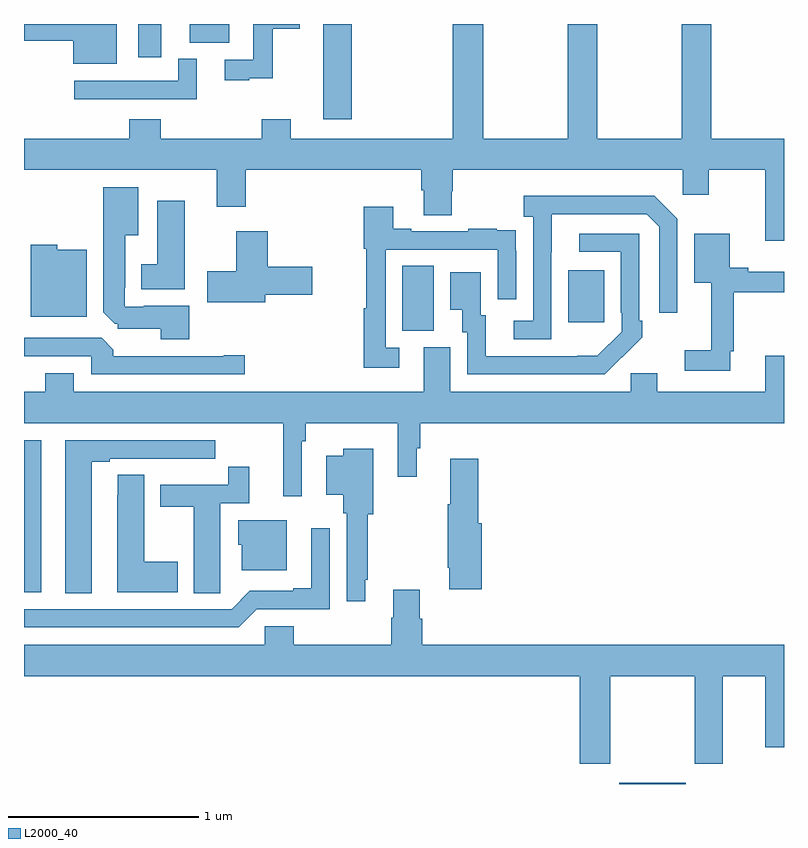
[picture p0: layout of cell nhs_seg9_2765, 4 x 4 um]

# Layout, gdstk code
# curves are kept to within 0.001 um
import gdstk
lib = gdstk.Library(unit=1e-6, precision=1e-09)
def R(c, l, rs):  # rectangles x0, y0, x1, y1
    for r in rs: c.add(gdstk.rectangle(r[:2], r[2:], *l))
def P(c, l, *ps):  # polygons
    for p in ps: c.add(gdstk.Polygon(p, *l))
L2000_40 = (2000, 40)

nhs_seg9_2765 = lib.new_cell('nhs_seg9_2765')
R(nhs_seg9_2765, L2000_40, [(272.132,1214.5,272.482,1214.506), (269,1215.51,269.092,1216.308), (270.992,1216.885,271.156,1217.228), (271.865,1216.929,272.053,1217.203), (270.575,1218,270.725,1218.5), (269.6,1218.324,269.722,1218.5), (269.873,1218.401,270.079,1218.5)])
P(nhs_seg9_2765, L2000_40, [(269.555,1217.998),(269.555,1217.896),(269,1217.896),(269,1217.732),(270.014,1217.732),(270.014,1217.538),(270.167,1217.538),(270.167,1217.732),(271.091,1217.732),(271.091,1217.626),(271.103,1217.626),(271.103,1217.494),(271.251,1217.494),(271.251,1217.619),(271.256,1217.619),(271.256,1217.732),(272.466,1217.732),(272.466,1217.601),(272.605,1217.601),(272.605,1217.732),(272.9,1217.732),(272.9,1217.358),(273,1217.358),(273,1217.896),(272.616,1217.896),(272.616,1218.5),(272.461,1218.5),(272.461,1217.896),(272.016,1217.896),(272.016,1218.5),(271.861,1218.5),(271.861,1217.896),(271.416,1217.896),(271.416,1218.5),(271.256,1218.5),(271.256,1217.896),(270.403,1217.896),(270.403,1217.998),(270.251,1217.998),(270.251,1217.896),(269.72,1217.896),(269.72,1217.998)],
  [(269.488,1218.5),(269,1218.5),(269,1218.412),(269.258,1218.412),(269.258,1218.29),(269.488,1218.29)],
  [(270.185,1218.215),(270.308,1218.215),(270.308,1218.475),(270.451,1218.475),(270.451,1218.5),(270.207,1218.5),(270.207,1218.312),(270.057,1218.312),(270.057,1218.204),(270.185,1218.204)],
  [(269.908,1218.316),(269.811,1218.316),(269.811,1218.201),(269.265,1218.201),(269.265,1218.105),(269.908,1218.105)],
  [(269.869,1217.017),(269.629,1217.017),(269.629,1217.013),(269.529,1217.013),(269.529,1217.113),(269.533,1217.113),(269.533,1217.387),(269.602,1217.387),(269.602,1217.641),(269.417,1217.641),(269.417,1216.983),(269.477,1216.923),(269.493,1216.923),(269.493,1216.896),(269.72,1216.896),(269.72,1216.841),(269.869,1216.841)],
  [(271.776,1217.299),(271.777,1217.499),(272.277,1217.499),(272.343,1217.433),(272.343,1216.98),(272.439,1216.98),(272.439,1217.475),(272.318,1217.596),(271.629,1217.596),(271.629,1217.486),(271.68,1217.486),(271.68,1216.938),(271.578,1216.938),(271.578,1216.842),(271.776,1216.842)],
  [(269.845,1217.569),(269.702,1217.569),(269.702,1217.236),(269.618,1217.236),(269.618,1217.105),(269.845,1217.105)],
  [(270.976,1216.797),(270.903,1216.797),(270.903,1217.313),(271.494,1217.313),(271.494,1217.052),(271.59,1217.052),(271.59,1217.306),(271.589,1217.306),(271.589,1217.415),(271.487,1217.415),(271.487,1217.422),(271.339,1217.422),(271.339,1217.409),(271.039,1217.409),(271.039,1217.422),(270.943,1217.422),(270.943,1217.539),(270.787,1217.539),(270.787,1217.316),(270.802,1217.316),(270.802,1217.004),(270.787,1217.004),(270.787,1216.692),(270.976,1216.692)],
  [(270.271,1217.075),(270.517,1217.075),(270.517,1217.222),(270.284,1217.222),(270.284,1217.41),(270.116,1217.41),(270.116,1217.199),(269.964,1217.199),(269.964,1217.036),(270.271,1217.036)],
  [(272.147,1216.747),(272.148,1216.746),(272.253,1216.851),(272.253,1216.939),(272.238,1216.939),(272.238,1217.397),(271.923,1217.397),(271.923,1217.301),(272.142,1217.301),(272.142,1216.981),(272.145,1216.981),(272.145,1216.881),(272.017,1216.753),(271.429,1216.752),(271.429,1216.968),(271.405,1216.968),(271.405,1217.194),(271.244,1217.194),(271.244,1216.997),(271.307,1216.997),(271.307,1216.878),(271.332,1216.878),(271.332,1216.656),(272.056,1216.656)],
  [(272.717,1216.777),(272.735,1216.777),(272.735,1217.088),(273,1217.088),(273,1217.197),(272.812,1217.197),(272.812,1217.216),(272.715,1217.216),(272.715,1217.395),(272.528,1217.395),(272.528,1217.138),(272.618,1217.138),(272.618,1216.783),(272.478,1216.783),(272.478,1216.674),(272.717,1216.674)],
  [(269.329,1217.311),(269.175,1217.311),(269.175,1217.338),(269.036,1217.338),(269.036,1216.958),(269.329,1216.958)],
  [(270.163,1216.757),(270.05,1216.757),(270.05,1216.752),(269.471,1216.752),(269.471,1216.786),(269.409,1216.848),(269,1216.848),(269,1216.752),(269.355,1216.752),(269.355,1216.656),(270.163,1216.656)],
  [(270.462,1216.304),(270.482,1216.304),(270.482,1216.4),(270.968,1216.4),(270.968,1216.116),(271.066,1216.116),(271.066,1216.266),(271.085,1216.266),(271.085,1216.4),(273,1216.4),(273,1216.753),(272.9,1216.753),(272.9,1216.564),(272.332,1216.564),(272.332,1216.662),(272.193,1216.662),(272.193,1216.564),(271.243,1216.564),(271.243,1216.8),(271.103,1216.8),(271.103,1216.564),(269.263,1216.564),(269.263,1216.663),(269.111,1216.663),(269.111,1216.564),(269,1216.564),(269,1216.4),(270.365,1216.4),(270.365,1216.014),(270.462,1216.014)],
  [(269.356,1216.197),(269.452,1216.197),(269.452,1216.212),(269.728,1216.212),(269.728,1216.211),(269.894,1216.211),(269.894,1216.212),(270.007,1216.212),(270.007,1216.308),(269.216,1216.308),(269.216,1215.505),(269.356,1215.505)],
  [(270.796,1215.574),(270.808,1215.574),(270.808,1215.92),(270.838,1215.92),(270.838,1216.264),(270.68,1216.264),(270.68,1216.228),(270.59,1216.228),(270.59,1216.022),(270.68,1216.022),(270.68,1215.924),(270.699,1215.924),(270.699,1215.462),(270.796,1215.462)],
  [(271.409,1215.873),(271.391,1215.873),(271.391,1216.213),(271.244,1216.213),(271.244,1215.973),(271.231,1215.973),(271.231,1215.637),(271.238,1215.637),(271.238,1215.525),(271.409,1215.525)],
  [(270.033,1215.616),(270.034,1215.616),(270.034,1215.978),(270.185,1215.978),(270.185,1216.171),(270.076,1216.171),(270.076,1216.074),(269.717,1216.074),(269.717,1215.958),(269.894,1215.958),(269.894,1215.505),(270.033,1215.505)],
  [(269.809,1215.669),(269.632,1215.669),(269.632,1216.127),(269.493,1216.127),(269.493,1216.019),(269.492,1216.019),(269.492,1215.509),(269.809,1215.509)],
  [(270.382,1215.889),(270.128,1215.889),(270.128,1215.759),(270.146,1215.759),(270.146,1215.626),(270.382,1215.626)],
  [(270.225,1215.42),(270.609,1215.42),(270.609,1215.847),(270.512,1215.847),(270.512,1215.529),(270.416,1215.529),(270.416,1215.516),(270.189,1215.516),(270.093,1215.42),(269,1215.42),(269,1215.324),(270.129,1215.324)],
  [(272.085,1215.068),(272.53,1215.068),(272.53,1214.607),(272.677,1214.607),(272.677,1215.068),(272.9,1215.068),(272.9,1214.694),(273,1214.694),(273,1215.232),(271.097,1215.232),(271.097,1215.369),(271.084,1215.369),(271.084,1215.523),(270.944,1215.523),(270.944,1215.374),(270.932,1215.374),(270.932,1215.232),(270.419,1215.232),(270.419,1215.33),(270.267,1215.33),(270.267,1215.232),(269,1215.232),(269,1215.068),(271.925,1215.068),(271.925,1214.607),(272.085,1214.607)])

lib.write_gds('nhs_seg9_2765.gds')
